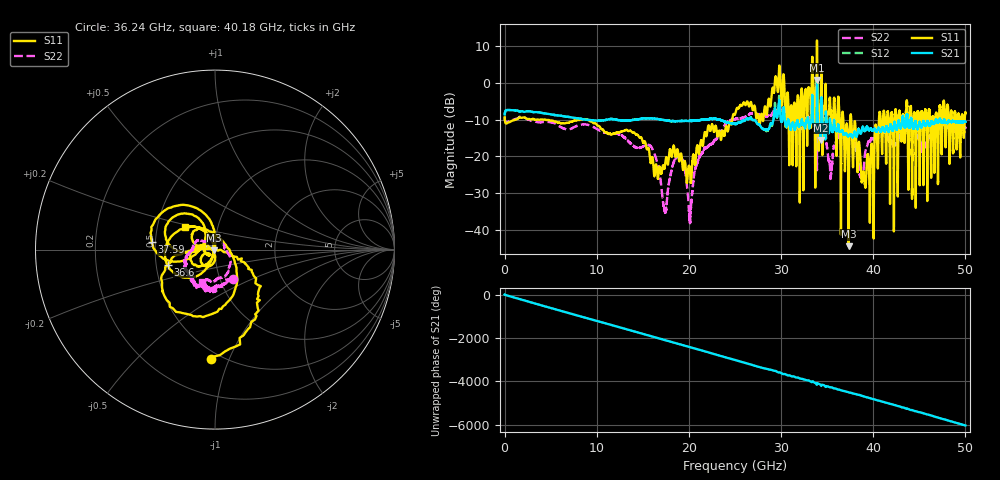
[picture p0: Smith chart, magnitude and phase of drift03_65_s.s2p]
!Created with skrf (http://scikit-rf.org).
# Hz S RI R 50.0
!freq ReS11 ImS11 ReS21 ImS21 ReS12 ImS12 ReS22 ImS22
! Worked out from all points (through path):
!   10001 points, 300 kHz to 50 GHz, reference 50 ohm
!   highest |S21| = 0.84 dB at 33.9 GHz (marker M1); lowest = -15.5 dB at 34.32 GHz (marker M2)
!   group delay of S21, straight-line fit = 335 ps
!   lowest |S11| = -44.4 dB at 37.33 GHz (marker M3), VSWR 1.01, Z = 49.5 - j0.352 ohm
!   |S11| at or under -10 dB: 4.467 GHz to 7.97 GHz (3.503 GHz wide, 56.3 % of centre); 9.017 GHz to 24.7 GHz (15.68 GHz wide, 93 % of centre); 37.62 GHz to 40.62 GHz (2.999 GHz wide, 7.67 % of centre) (the widest 3 of 62)
!   |S22| runs from -38.2 to -5.9 dB; largest |S21 - S12| = 0.11
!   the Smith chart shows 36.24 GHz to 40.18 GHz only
!   S11 on the Smith chart (normalised r, x): 36.24 GHz: 0.44, -0.86; 36.6 GHz: 0.58, -0.10; 37.59 GHz: 0.48, +0.04; 40.18 GHz: 0.69, +0.18
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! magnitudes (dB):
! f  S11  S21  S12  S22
! 300 kHz  -9.3  -8.5  -8.5  -9.3
! 8.335 GHz  -9.9  -9.8  -9.8  -11.3
! 16.67 GHz  -25.5  -9.8  -9.8  -23.1
! 17.4 GHz  -22.5  -10.1  -10.1  -34.8
! 19.09 GHz  -19.6  -10.3  -10.3  -20.1
! 20.13 GHz  -24.5  -10.3  -10.3  -36.2
! 21.17 GHz  -18.2  -10.1  -10.1  -19.9
! 25 GHz  -8.5  -11.1  -11.1  -9.9
! 29.66 GHz  -2.3  -8.3  -8.4  -7.2
! 31.08 GHz  -6.1  -12.7  -12.7  -10.5
! 33.34 GHz  0.7  -7.3  -7.4  -9.4
! 33.9 GHz  11.6  0.8  0.4  -23.8
! 34.32 GHz  -2.9  -15.5  -14.9  -11.2
! 35.34 GHz  -5.9  -10.5  -10.0  -25.1
! 36.24 GHz  -4.3  -11.7  -11.7  -14.4
! 36.6 GHz  -11.2  -12.9  -13.0  -13.1
! 37.33 GHz  -44.4  -14.4  -14.5  -13.5
! 37.59 GHz  -9.0  -14.0  -13.9  -14.1
! 38.71 GHz  -25.5  -13.4  -13.3  -25.7
! 40.18 GHz  -13.5  -12.5  -12.5  -14.3
! 41.67 GHz  -9.4  -13.3  -13.2  -15.4
! 50 GHz  -8.1  -10.6  -10.6  -12.1
